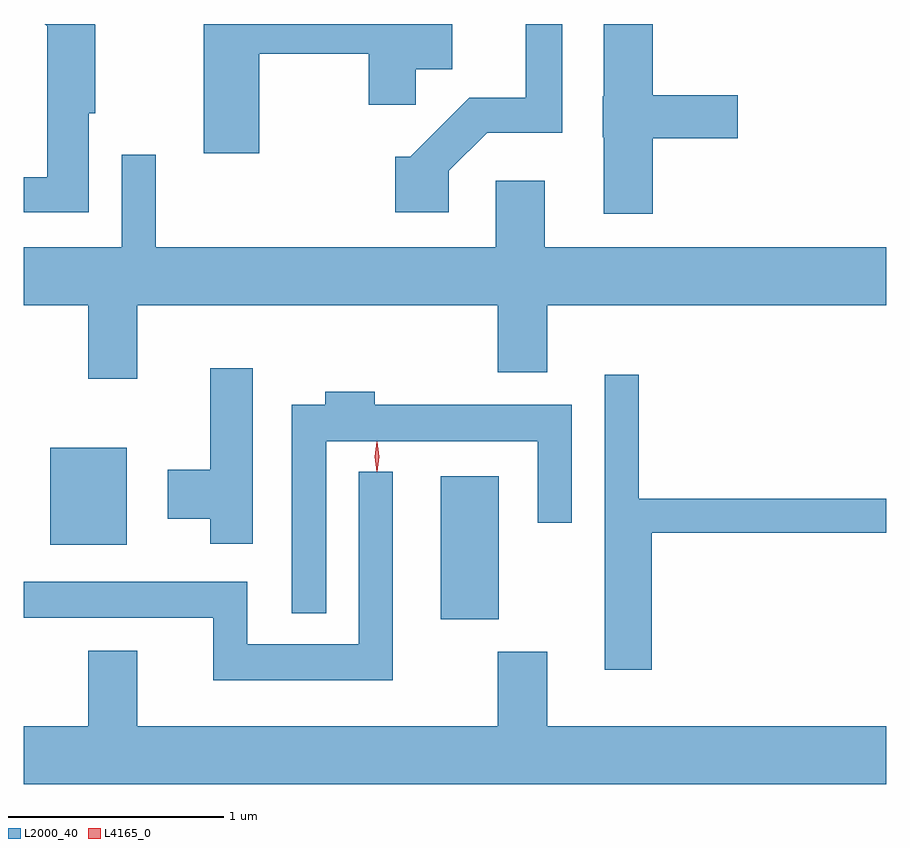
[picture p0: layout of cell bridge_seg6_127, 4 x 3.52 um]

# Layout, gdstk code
import gdstk
lib = gdstk.Library(unit=1e-6, precision=1e-09)
def R(c, l, rs):  # rectangles x0, y0, x1, y1
    for r in rs: c.add(gdstk.rectangle(r[:2], r[2:], *l))
def P(c, l, *ps):  # polygons
    for p in ps: c.add(gdstk.Polygon(p, *l))
L2000_40 = (2000, 40)
L4165_0 = (4165, 0)

bridge_seg6_127 = lib.new_cell('bridge_seg6_127')
R(bridge_seg6_127, L2000_40, [(1167.636,1621.841,1167.904,1622.504), (1165.826,1622.186,1166.179,1622.634)])
P(bridge_seg6_127, L2000_40, [(1166.794,1624.461),(1167.301,1624.461),(1167.301,1624.226),(1167.519,1624.226),(1167.519,1624.391),(1167.689,1624.391),(1167.689,1624.6),(1166.536,1624.6),(1166.536,1624.001),(1166.794,1624.001)],
  [(1168.619,1624.071),(1169.014,1624.071),(1169.014,1624.269),(1168.619,1624.269),(1168.619,1624.6),(1168.391,1624.6),(1168.391,1624.265),(1168.386,1624.265),(1168.386,1624.075),(1168.391,1624.075),(1168.391,1623.721),(1168.619,1623.721)],
  [(1167.674,1623.919),(1167.852,1624.096),(1168.199,1624.096),(1168.199,1624.6),(1168.031,1624.6),(1168.031,1624.259),(1167.769,1624.259),(1167.494,1623.984),(1167.426,1623.984),(1167.426,1623.726),(1167.674,1623.726)],
  [(1166.004,1624.186),(1166.034,1624.186),(1166.034,1624.597),(1166.031,1624.6),(1165.8,1624.6),(1165.811,1624.589),(1165.811,1623.889),(1165.702,1623.889),(1165.702,1623.726),(1166.004,1623.726)],
  [(1166.229,1623.296),(1167.901,1623.296),(1167.901,1622.986),(1168.129,1622.986),(1168.129,1623.296),(1169.702,1623.296),(1169.702,1623.564),(1168.119,1623.564),(1168.119,1623.874),(1167.891,1623.874),(1167.891,1623.564),(1166.314,1623.564),(1166.314,1623.993),(1166.156,1623.993),(1166.156,1623.564),(1165.702,1623.564),(1165.702,1623.296),(1166.001,1623.296),(1166.001,1622.956),(1166.229,1622.956)],
  [(1166.764,1623.004),(1166.566,1623.004),(1166.566,1622.534),(1166.371,1622.534),(1166.371,1622.306),(1166.566,1622.306),(1166.566,1622.191),(1166.764,1622.191)],
  [(1168.614,1622.241),(1169.702,1622.241),(1169.702,1622.399),(1168.554,1622.399),(1168.554,1622.973),(1168.396,1622.973),(1168.396,1621.606),(1168.614,1621.606)],
  [(1167.104,1622.666),(1168.086,1622.666),(1168.086,1622.288),(1168.244,1622.288),(1168.244,1622.834),(1167.329,1622.834),(1167.329,1622.894),(1167.101,1622.894),(1167.101,1622.834),(1166.946,1622.834),(1166.946,1621.868),(1167.104,1621.868)],
  [(1167.414,1622.523),(1167.256,1622.523),(1167.256,1621.724),(1166.739,1621.724),(1166.739,1622.014),(1165.702,1622.014),(1165.702,1621.846),(1166.581,1621.846),(1166.581,1621.556),(1167.414,1621.556)],
  [(1169.702,1621.344),(1168.129,1621.344),(1168.129,1621.689),(1167.901,1621.689),(1167.901,1621.344),(1166.229,1621.344),(1166.229,1621.694),(1166.001,1621.694),(1166.001,1621.344),(1165.702,1621.344),(1165.702,1621.076),(1169.702,1621.076)])
P(bridge_seg6_127, L4165_0, [(1167.34,1622.523),(1167.34,1622.524),(1167.331,1622.593),(1167.34,1622.662),(1167.341,1622.663),(1167.341,1622.662),(1167.35,1622.593),(1167.341,1622.524)])

lib.write_gds('bridge_seg6_127.gds')
